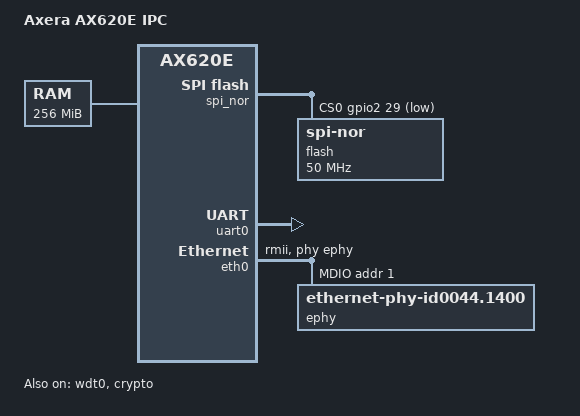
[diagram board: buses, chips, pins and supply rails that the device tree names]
// SPDX-License-Identifier: GPL-2.0-or-later
/*
 * Axera AX620E Xiongmai IP camera (IVG-A6 class): SPI NOR boot flash,
 * internal EPHY (RMII), SC450AI on MIPI. Nodes taken from the board's own
 * vendor devicetree (FIT in /boot/uImage of the stock firmware).
 *
 * The vendor U-Boot passes mem= (osmem) and rewrites /memory; the CMM
 * window above osmem belongs to ax_cmm.ko (cmmpool= in load_axera).
 */

/dts-v1/;

#include "axera/ax620e.dtsi"

/ {
	model = "Axera AX620E IPC";
	compatible = "axera,ax620e-ipc", "axera,ax620e";

	aliases {
		serial0 = &uart0;
		ethernet0 = &eth0;
		spi0 = &spi_nor;
	};

	/*
	 * The NOR camera profile has no ATF/BL31 (SPL -> DDRINIT -> U-Boot):
	 * nothing answers PSCI SMCs. Its own vendor DT releases CPU1 with a
	 * spin-table at 0x23400dc, as its U-Boot/BL1 expect.
	 */
	/delete-node/ psci;

	cpus {
		cpu@0 {
			enable-method = "spin-table";
			cpu-release-addr = <0x0 0x023400dc>;
		};
		cpu@1 {
			enable-method = "spin-table";
			cpu-release-addr = <0x0 0x023400dc>;
		};
	};

	chosen {
		stdout-path = "serial0:115200n8";
	};

	memory@40000000 {
		device_type = "memory";
		reg = <0x0 0x40000000 0x0 0x10000000>;
	};

	soc {
		spi_nor: spi@1a00000 {
			compatible = "snps,dw-apb-ssi";
			reg = <0x0 0x01a00000 0x0 0x10000>;
			interrupts = <GIC_SPI 8 IRQ_TYPE_LEVEL_HIGH>;
			clocks = <&clk_cpu AX620X_CLK_H_SSI_EB>,
				 <&clk_cpu AX620X_HCLK_SPI_EB>;
			clock-names = "ssi_clk", "pclk";
			/*
			 * CS is GPIO2_29, as in the vendor DT. openipc/linux
			 * axera-ax620e has no "axera,ax-apb-gpio" driver yet, so until
			 * it does this probe defers forever and there is no root fs.
			 */
			cs-gpios = <&gpio2 29 GPIO_ACTIVE_LOW>;
			num-cs = <1>;
			#address-cells = <1>;
			#size-cells = <0>;
			status = "okay";

			flash@0 {
				compatible = "jedec,spi-nor";
				reg = <0>;
				spi-max-frequency = <50000000>;
			};
		};
	};
};

&uart0 {
	status = "okay";
};

&wdt0 {
	status = "okay";
};

&eth0 {
	status = "okay";
	/* No "axera,axera_reset_match" driver in this kernel: drop the resets
	 * (U-Boot leaves EMAC/EPHY out of reset) or the probe defers forever. */
	/delete-property/ resets;
	/delete-property/ reset-names;
	phy-mode = "rmii";
	phy-handle = <&ephy>;

	mdio {
		compatible = "snps,dwmac-mdio";
		#address-cells = <1>;
		#size-cells = <0>;

		ephy: ethernet-phy@1 {
			compatible = "ethernet-phy-id0044.1400";
			reg = <1>;
		};
	};
};

&crypto {
	status = "okay";
};
